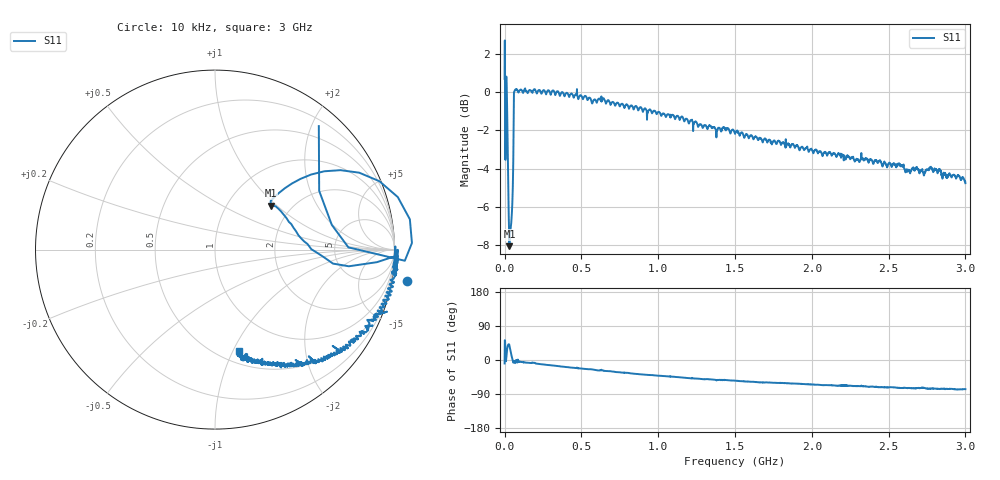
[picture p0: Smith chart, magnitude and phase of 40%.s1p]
# HZ S RI R 50
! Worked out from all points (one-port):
!   2020 points, 10 kHz to 3 GHz, reference 50 ohm
!   lowest |S11| = -8.1 dB at 31.21 MHz (marker M1), VSWR 2.31, Z = 78.8 + j45.7 ohm
!   |S11| at or under -10 dB: nowhere
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10000  1.07 -0.1726
5953516  0.6507 0.1378
1.635467e7  0.8035 0.4285
1.932643e7  0.6091 0.4364
2.378406e7  0.4287 0.3684
2.675582e7  0.358 0.317
3.121346e7  0.3103 0.2448
3.715698e7  0.3833 0.1937
4.310049e7  0.438 0.1209
5.350164e7  0.5659 -0.0158
6.39028e7  1.004 -0.0565
7.133219e7  1.016 -0.0326
7.578983e7  1.018 -0.00105
1.515697e8  0.9898 -0.1261
1.902025e8  1.007 -0.1304
2.169483e8  0.9917 -0.1771
3.759374e8  0.9543 -0.3006
7.503789e8  0.7737 -0.4946
1.126306e9  0.6104 -0.616
1.37742e9  0.4785 -0.632
1.500748e9  0.4519 -0.6332
1.667166e9  0.3897 -0.6503
1.875189e9  0.3439 -0.6464
2.251117e9  0.2512 -0.6202
2.573552e9  0.1788 -0.6235
2.625558e9  0.175 -0.6008
2.769688e9  0.1541 -0.6175
3e9  0.131 -0.5629
